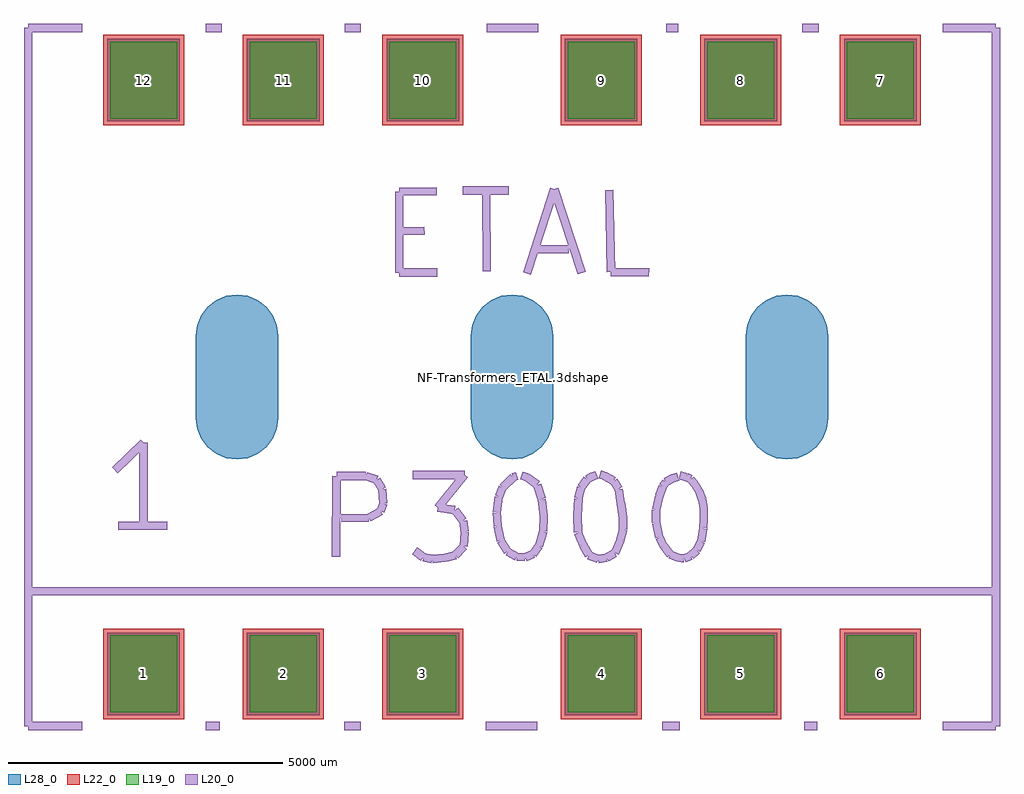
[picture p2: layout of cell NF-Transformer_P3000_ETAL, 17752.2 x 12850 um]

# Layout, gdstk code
import gdstk
lib = gdstk.Library(unit=1e-6, precision=1e-09)
def R(c, l, rs):  # rectangles x0, y0, x1, y1
    for r in rs: c.add(gdstk.rectangle(r[:2], r[2:], *l))
def A(c, l, x, y, w, h, nx, ny, dx, dy):  # array of equal rectangles
    R(c, l, [(x+i*dx, y+j*dy, x+i*dx+w, y+j*dy+h) for i in range(nx) for j in range(ny)])
def P(c, l, *ps):  # polygons
    for p in ps: c.add(gdstk.Polygon(p, *l))
L19_0 = (19, 0)
L20_0 = (20, 0)
L22_0 = (22, 0)
L28_0 = (28, 0)

nf_transformer_p3000_eta = lib.new_cell('NF-Transformer_P3000_ETAL')
A(nf_transformer_p3000_eta, L19_0, -7310.92, -6100.61, 1220.8, 1401.14, 3, 2, 2540, 10800.08)
A(nf_transformer_p3000_eta, L19_0, 1010.12, -6100.61, 1220.8, 1401.14, 3, 2, 2540, 10800.08)
A(nf_transformer_p3000_eta, L22_0, -7435.92, -6225.61, 1470.8, 1651.14, 3, 2, 2540, 10800.08)
A(nf_transformer_p3000_eta, L22_0, 885.12, -6225.61, 1470.8, 1651.14, 3, 2, 2540, 10800.08)
A(nf_transformer_p3000_eta, L28_0, -7360.92, -6150.61, 1320.8, 1501.14, 3, 2, 2540, 10800.08)
A(nf_transformer_p3000_eta, L28_0, 960.12, -6150.61, 1320.8, 1501.14, 3, 2, 2540, 10800.08)
P(nf_transformer_p3000_eta, L28_0, [(5001.26,-1499.87),(5195.522,-1474.295),(5376.545,-1399.313),(5531.993,-1280.033),(5651.273,-1124.585),(5726.255,-943.562),(5751.83,-749.3),(5751.83,749.3),(5726.255,943.562),(5651.273,1124.585),(5531.993,1280.033),(5376.545,1399.313),(5195.522,1474.295),(5001.26,1499.87),(4806.998,1474.295),(4625.975,1399.313),(4470.527,1280.033),(4351.247,1124.585),(4276.265,943.562),(4250.69,749.3),(4250.69,-749.3),(4276.265,-943.562),(4351.247,-1124.585),(4470.527,-1280.033),(4625.975,-1399.313),(4806.998,-1474.295)],
  [(-5001.26,-1499.87),(-4806.998,-1474.295),(-4625.975,-1399.313),(-4470.527,-1280.033),(-4351.247,-1124.585),(-4276.265,-943.562),(-4250.69,-749.3),(-4250.69,749.3),(-4276.265,943.562),(-4351.247,1124.585),(-4470.527,1280.033),(-4625.975,1399.313),(-4806.998,1474.295),(-5001.26,1499.87),(-5195.522,1474.295),(-5376.545,1399.313),(-5531.993,1280.033),(-5651.273,1124.585),(-5726.255,943.562),(-5751.83,749.3),(-5751.83,-749.3),(-5726.255,-943.562),(-5651.273,-1124.585),(-5531.993,-1280.033),(-5376.545,-1399.313),(-5195.522,-1474.295)],
  [(0,-1499.87),(194.262,-1474.295),(375.285,-1399.313),(530.733,-1280.033),(650.013,-1124.585),(724.995,-943.562),(750.57,-749.3),(750.57,749.3),(724.995,943.562),(650.013,1124.585),(530.733,1280.033),(375.285,1399.313),(194.262,1474.295),(0,1499.87),(-194.262,1474.295),(-375.285,1399.313),(-530.733,1280.033),(-650.013,1124.585),(-724.995,943.562),(-750.57,749.3),(-750.57,-749.3),(-724.995,-943.562),(-650.013,-1124.585),(-530.733,-1280.033),(-375.285,-1399.313),(-194.262,-1474.295)])
nf_transformer_p3000_eta.add(gdstk.FlexPath([(8801.1,6350),(8801.1,-6350)], 149.998, ends="flush", simple_path=True, layer=20, datatype=0))  # L20_0
nf_transformer_p3000_eta.add(gdstk.FlexPath([(8801.1,-6350),(7830.82,-6350)], 149.998, ends="flush", simple_path=True, layer=20, datatype=0))  # L20_0
nf_transformer_p3000_eta.add(gdstk.FlexPath([(8801.1,6350),(7830.82,6350)], 149.998, ends="flush", simple_path=True, layer=20, datatype=0))  # L20_0
nf_transformer_p3000_eta.add(gdstk.FlexPath([(5549.9,-6350),(5311.14,-6350)], 149.998, ends="flush", simple_path=True, layer=20, datatype=0))  # L20_0
nf_transformer_p3000_eta.add(gdstk.FlexPath([(3050.54,-6350),(2730.5,-6350)], 149.998, ends="flush", simple_path=True, layer=20, datatype=0))  # L20_0
nf_transformer_p3000_eta.add(gdstk.FlexPath([(459.74,-6350),(-480.06,-6350)], 149.998, ends="flush", simple_path=True, layer=20, datatype=0))  # L20_0
nf_transformer_p3000_eta.add(gdstk.FlexPath([(-2750.82,-6350),(-3050.54,-6350)], 149.998, ends="flush", simple_path=True, layer=20, datatype=0))  # L20_0
nf_transformer_p3000_eta.add(gdstk.FlexPath([(-5311.14,-6350),(-5570.22,-6350)], 149.998, ends="flush", simple_path=True, layer=20, datatype=0))  # L20_0
nf_transformer_p3000_eta.add(gdstk.FlexPath([(-7820.66,-6350),(-8801.1,-6350)], 149.998, ends="flush", simple_path=True, layer=20, datatype=0))  # L20_0
nf_transformer_p3000_eta.add(gdstk.FlexPath([(-8801.1,-6350),(-8801.1,6350)], 149.998, ends="flush", simple_path=True, layer=20, datatype=0))  # L20_0
nf_transformer_p3000_eta.add(gdstk.FlexPath([(-8801.1,6350),(-7820.66,6350)], 149.998, ends="flush", simple_path=True, layer=20, datatype=0))  # L20_0
nf_transformer_p3000_eta.add(gdstk.FlexPath([(-5570.22,6350),(-5280.66,6350)], 149.998, ends="flush", simple_path=True, layer=20, datatype=0))  # L20_0
nf_transformer_p3000_eta.add(gdstk.FlexPath([(-3040.38,6350),(-2750.82,6350)], 149.998, ends="flush", simple_path=True, layer=20, datatype=0))  # L20_0
nf_transformer_p3000_eta.add(gdstk.FlexPath([(-459.74,6350),(480.06,6350)], 149.998, ends="flush", simple_path=True, layer=20, datatype=0))  # L20_0
nf_transformer_p3000_eta.add(gdstk.FlexPath([(2809.24,6350),(3020.06,6350)], 149.998, ends="flush", simple_path=True, layer=20, datatype=0))  # L20_0
nf_transformer_p3000_eta.add(gdstk.FlexPath([(5280.66,6350),(5580.38,6350)], 149.998, ends="flush", simple_path=True, layer=20, datatype=0))  # L20_0
nf_transformer_p3000_eta.add(gdstk.FlexPath([(8801.1,-3898.9),(-8801.1,-3898.9)], 149.998, ends="flush", simple_path=True, layer=20, datatype=0))  # L20_0
nf_transformer_p3000_eta.add(gdstk.FlexPath([(-2049.78,1899.92),(-1358.9,1899.92)], 149.998, ends="flush", simple_path=True, layer=20, datatype=0))  # L20_0
nf_transformer_p3000_eta.add(gdstk.FlexPath([(-2049.78,3370.58),(-2049.78,1899.92)], 149.998, ends="flush", simple_path=True, layer=20, datatype=0))  # L20_0
nf_transformer_p3000_eta.add(gdstk.FlexPath([(-1369.06,3380.74),(-2049.78,3370.58)], 149.998, ends="flush", simple_path=True, layer=20, datatype=0))  # L20_0
nf_transformer_p3000_eta.add(gdstk.FlexPath([(-2049.78,2651.76),(-1590.04,2661.92)], 149.998, ends="flush", simple_path=True, layer=20, datatype=0))  # L20_0
nf_transformer_p3000_eta.add(gdstk.FlexPath([(-899.16,3390.9),(-58.42,3390.9)], 149.998, ends="flush", simple_path=True, layer=20, datatype=0))  # L20_0
nf_transformer_p3000_eta.add(gdstk.FlexPath([(-469.9,3380.74),(-459.74,1920.24)], 149.998, ends="flush", simple_path=True, layer=20, datatype=0))  # L20_0
nf_transformer_p3000_eta.add(gdstk.FlexPath([(769.62,3421.38),(1270,1889.76)], 149.998, ends="flush", simple_path=True, layer=20, datatype=0))  # L20_0
nf_transformer_p3000_eta.add(gdstk.FlexPath([(271.78,1882.14),(769.62,3421.38)], 149.998, ends="flush", simple_path=True, layer=20, datatype=0))  # L20_0
nf_transformer_p3000_eta.add(gdstk.FlexPath([(441.96,2321.56),(1031.24,2321.56)], 149.998, ends="flush", simple_path=True, layer=20, datatype=0))  # L20_0
nf_transformer_p3000_eta.add(gdstk.FlexPath([(1800.86,1910.08),(2491.74,1899.92)], 149.998, ends="flush", simple_path=True, layer=20, datatype=0))  # L20_0
nf_transformer_p3000_eta.add(gdstk.FlexPath([(1770.38,3401.06),(1800.86,1910.08)], 149.998, ends="flush", simple_path=True, layer=20, datatype=0))  # L20_0
nf_transformer_p3000_eta.add(gdstk.FlexPath([(-2608.58,-2560.32),(-3108.96,-2570.48)], 149.998, ends="flush", simple_path=True, layer=20, datatype=0))  # L20_0
nf_transformer_p3000_eta.add(gdstk.FlexPath([(-2390.14,-2440.94),(-2608.58,-2560.32)], 149.998, ends="flush", simple_path=True, layer=20, datatype=0))  # L20_0
nf_transformer_p3000_eta.add(gdstk.FlexPath([(-2339.34,-2301.24),(-2390.14,-2440.94)], 149.998, ends="flush", simple_path=True, layer=20, datatype=0))  # L20_0
nf_transformer_p3000_eta.add(gdstk.FlexPath([(-2359.66,-2039.62),(-2339.34,-2301.24)], 149.998, ends="flush", simple_path=True, layer=20, datatype=0))  # L20_0
nf_transformer_p3000_eta.add(gdstk.FlexPath([(-2458.72,-1869.44),(-2359.66,-2039.62)], 149.998, ends="flush", simple_path=True, layer=20, datatype=0))  # L20_0
nf_transformer_p3000_eta.add(gdstk.FlexPath([(-2659.38,-1800.86),(-2458.72,-1869.44)], 149.998, ends="flush", simple_path=True, layer=20, datatype=0))  # L20_0
nf_transformer_p3000_eta.add(gdstk.FlexPath([(-3190.24,-1800.86),(-2659.38,-1800.86)], 149.998, ends="flush", simple_path=True, layer=20, datatype=0))  # L20_0
nf_transformer_p3000_eta.add(gdstk.FlexPath([(-3200.4,-3268.98),(-3190.24,-1800.86)], 149.998, ends="flush", simple_path=True, layer=20, datatype=0))  # L20_0
nf_transformer_p3000_eta.add(gdstk.FlexPath([(-1610.36,-3279.14),(-1770.38,-3159.76)], 149.998, ends="flush", simple_path=True, layer=20, datatype=0))  # L20_0
nf_transformer_p3000_eta.add(gdstk.FlexPath([(-1450.34,-3309.62),(-1610.36,-3279.14)], 149.998, ends="flush", simple_path=True, layer=20, datatype=0))  # L20_0
nf_transformer_p3000_eta.add(gdstk.FlexPath([(-1209.04,-3289.3),(-1450.34,-3309.62)], 149.998, ends="flush", simple_path=True, layer=20, datatype=0))  # L20_0
nf_transformer_p3000_eta.add(gdstk.FlexPath([(-1028.7,-3241.04),(-1209.04,-3289.3)], 149.998, ends="flush", simple_path=True, layer=20, datatype=0))  # L20_0
nf_transformer_p3000_eta.add(gdstk.FlexPath([(-878.84,-3081.02),(-1028.7,-3241.04)], 149.998, ends="flush", simple_path=True, layer=20, datatype=0))  # L20_0
nf_transformer_p3000_eta.add(gdstk.FlexPath([(-861.06,-2819.4),(-878.84,-3081.02)], 149.998, ends="flush", simple_path=True, layer=20, datatype=0))  # L20_0
nf_transformer_p3000_eta.add(gdstk.FlexPath([(-889,-2611.12),(-861.06,-2819.4)], 149.998, ends="flush", simple_path=True, layer=20, datatype=0))  # L20_0
nf_transformer_p3000_eta.add(gdstk.FlexPath([(-1038.86,-2420.62),(-889,-2611.12)], 149.998, ends="flush", simple_path=True, layer=20, datatype=0))  # L20_0
nf_transformer_p3000_eta.add(gdstk.FlexPath([(-1348.74,-2379.98),(-1038.86,-2420.62)], 149.998, ends="flush", simple_path=True, layer=20, datatype=0))  # L20_0
nf_transformer_p3000_eta.add(gdstk.FlexPath([(-861.06,-1780.54),(-1348.74,-2379.98)], 149.998, ends="flush", simple_path=True, layer=20, datatype=0))  # L20_0
nf_transformer_p3000_eta.add(gdstk.FlexPath([(-1800.86,-1780.54),(-861.06,-1780.54)], 149.998, ends="flush", simple_path=True, layer=20, datatype=0))  # L20_0
nf_transformer_p3000_eta.add(gdstk.FlexPath([(20.32,-1821.18),(88.9,-1800.86)], 149.998, ends="flush", simple_path=True, layer=20, datatype=0))  # L20_0
nf_transformer_p3000_eta.add(gdstk.FlexPath([(-170.18,-2009.14),(20.32,-1821.18)], 149.998, ends="flush", simple_path=True, layer=20, datatype=0))  # L20_0
nf_transformer_p3000_eta.add(gdstk.FlexPath([(-238.76,-2179.32),(-170.18,-2009.14)], 149.998, ends="flush", simple_path=True, layer=20, datatype=0))  # L20_0
nf_transformer_p3000_eta.add(gdstk.FlexPath([(-279.4,-2461.26),(-238.76,-2179.32)], 149.998, ends="flush", simple_path=True, layer=20, datatype=0))  # L20_0
nf_transformer_p3000_eta.add(gdstk.FlexPath([(-259.08,-2720.34),(-279.4,-2461.26)], 149.998, ends="flush", simple_path=True, layer=20, datatype=0))  # L20_0
nf_transformer_p3000_eta.add(gdstk.FlexPath([(-200.66,-2979.42),(-259.08,-2720.34)], 149.998, ends="flush", simple_path=True, layer=20, datatype=0))  # L20_0
nf_transformer_p3000_eta.add(gdstk.FlexPath([(-78.74,-3180.08),(-200.66,-2979.42)], 149.998, ends="flush", simple_path=True, layer=20, datatype=0))  # L20_0
nf_transformer_p3000_eta.add(gdstk.FlexPath([(88.9,-3268.98),(-78.74,-3180.08)], 149.998, ends="flush", simple_path=True, layer=20, datatype=0))  # L20_0
nf_transformer_p3000_eta.add(gdstk.FlexPath([(241.3,-3279.14),(88.9,-3268.98)], 149.998, ends="flush", simple_path=True, layer=20, datatype=0))  # L20_0
nf_transformer_p3000_eta.add(gdstk.FlexPath([(381,-3220.72),(241.3,-3279.14)], 149.998, ends="flush", simple_path=True, layer=20, datatype=0))  # L20_0
nf_transformer_p3000_eta.add(gdstk.FlexPath([(490.22,-3070.86),(381,-3220.72)], 149.998, ends="flush", simple_path=True, layer=20, datatype=0))  # L20_0
nf_transformer_p3000_eta.add(gdstk.FlexPath([(568.96,-2809.24),(490.22,-3070.86)], 149.998, ends="flush", simple_path=True, layer=20, datatype=0))  # L20_0
nf_transformer_p3000_eta.add(gdstk.FlexPath([(579.12,-2529.84),(568.96,-2809.24)], 149.998, ends="flush", simple_path=True, layer=20, datatype=0))  # L20_0
nf_transformer_p3000_eta.add(gdstk.FlexPath([(541.02,-2219.96),(579.12,-2529.84)], 149.998, ends="flush", simple_path=True, layer=20, datatype=0))  # L20_0
nf_transformer_p3000_eta.add(gdstk.FlexPath([(459.74,-1960.88),(541.02,-2219.96)], 149.998, ends="flush", simple_path=True, layer=20, datatype=0))  # L20_0
nf_transformer_p3000_eta.add(gdstk.FlexPath([(269.24,-1821.18),(459.74,-1960.88)], 149.998, ends="flush", simple_path=True, layer=20, datatype=0))  # L20_0
nf_transformer_p3000_eta.add(gdstk.FlexPath([(170.18,-1790.7),(269.24,-1821.18)], 149.998, ends="flush", simple_path=True, layer=20, datatype=0))  # L20_0
nf_transformer_p3000_eta.add(gdstk.FlexPath([(1460.5,-1811.02),(1539.24,-1780.54)], 149.998, ends="flush", simple_path=True, layer=20, datatype=0))  # L20_0
nf_transformer_p3000_eta.add(gdstk.FlexPath([(1369.06,-1859.28),(1460.5,-1811.02)], 149.998, ends="flush", simple_path=True, layer=20, datatype=0))  # L20_0
nf_transformer_p3000_eta.add(gdstk.FlexPath([(1259.84,-2009.14),(1369.06,-1859.28)], 149.998, ends="flush", simple_path=True, layer=20, datatype=0))  # L20_0
nf_transformer_p3000_eta.add(gdstk.FlexPath([(1209.04,-2209.8),(1259.84,-2009.14)], 149.998, ends="flush", simple_path=True, layer=20, datatype=0))  # L20_0
nf_transformer_p3000_eta.add(gdstk.FlexPath([(1191.26,-2519.68),(1209.04,-2209.8)], 149.998, ends="flush", simple_path=True, layer=20, datatype=0))  # L20_0
nf_transformer_p3000_eta.add(gdstk.FlexPath([(1201.42,-2829.56),(1191.26,-2519.68)], 149.998, ends="flush", simple_path=True, layer=20, datatype=0))  # L20_0
nf_transformer_p3000_eta.add(gdstk.FlexPath([(1290.32,-3050.54),(1201.42,-2829.56)], 149.998, ends="flush", simple_path=True, layer=20, datatype=0))  # L20_0
nf_transformer_p3000_eta.add(gdstk.FlexPath([(1399.54,-3241.04),(1290.32,-3050.54)], 149.998, ends="flush", simple_path=True, layer=20, datatype=0))  # L20_0
nf_transformer_p3000_eta.add(gdstk.FlexPath([(1569.72,-3309.62),(1399.54,-3241.04)], 149.998, ends="flush", simple_path=True, layer=20, datatype=0))  # L20_0
nf_transformer_p3000_eta.add(gdstk.FlexPath([(1719.58,-3289.3),(1569.72,-3309.62)], 149.998, ends="flush", simple_path=True, layer=20, datatype=0))  # L20_0
nf_transformer_p3000_eta.add(gdstk.FlexPath([(1869.44,-3200.4),(1719.58,-3289.3)], 149.998, ends="flush", simple_path=True, layer=20, datatype=0))  # L20_0
nf_transformer_p3000_eta.add(gdstk.FlexPath([(1971.04,-2969.26),(1869.44,-3200.4)], 149.998, ends="flush", simple_path=True, layer=20, datatype=0))  # L20_0
nf_transformer_p3000_eta.add(gdstk.FlexPath([(2019.3,-2771.14),(1971.04,-2969.26)], 149.998, ends="flush", simple_path=True, layer=20, datatype=0))  # L20_0
nf_transformer_p3000_eta.add(gdstk.FlexPath([(2019.3,-2560.32),(2019.3,-2771.14)], 149.998, ends="flush", simple_path=True, layer=20, datatype=0))  # L20_0
nf_transformer_p3000_eta.add(gdstk.FlexPath([(1981.2,-2301.24),(2019.3,-2560.32)], 149.998, ends="flush", simple_path=True, layer=20, datatype=0))  # L20_0
nf_transformer_p3000_eta.add(gdstk.FlexPath([(1940.56,-2039.62),(1981.2,-2301.24)], 149.998, ends="flush", simple_path=True, layer=20, datatype=0))  # L20_0
nf_transformer_p3000_eta.add(gdstk.FlexPath([(1849.12,-1889.76),(1940.56,-2039.62)], 149.998, ends="flush", simple_path=True, layer=20, datatype=0))  # L20_0
nf_transformer_p3000_eta.add(gdstk.FlexPath([(1689.1,-1800.86),(1849.12,-1889.76)], 149.998, ends="flush", simple_path=True, layer=20, datatype=0))  # L20_0
nf_transformer_p3000_eta.add(gdstk.FlexPath([(1600.2,-1770.38),(1689.1,-1800.86)], 149.998, ends="flush", simple_path=True, layer=20, datatype=0))  # L20_0
nf_transformer_p3000_eta.add(gdstk.FlexPath([(2931.16,-1838.96),(3020.06,-1811.02)], 149.998, ends="flush", simple_path=True, layer=20, datatype=0))  # L20_0
nf_transformer_p3000_eta.add(gdstk.FlexPath([(2799.08,-1910.08),(2931.16,-1838.96)], 149.998, ends="flush", simple_path=True, layer=20, datatype=0))  # L20_0
nf_transformer_p3000_eta.add(gdstk.FlexPath([(2740.66,-1991.36),(2799.08,-1910.08)], 149.998, ends="flush", simple_path=True, layer=20, datatype=0))  # L20_0
nf_transformer_p3000_eta.add(gdstk.FlexPath([(2679.7,-2169.16),(2740.66,-1991.36)], 149.998, ends="flush", simple_path=True, layer=20, datatype=0))  # L20_0
nf_transformer_p3000_eta.add(gdstk.FlexPath([(2621.28,-2410.46),(2679.7,-2169.16)], 149.998, ends="flush", simple_path=True, layer=20, datatype=0))  # L20_0
nf_transformer_p3000_eta.add(gdstk.FlexPath([(2621.28,-2649.22),(2621.28,-2410.46)], 149.998, ends="flush", simple_path=True, layer=20, datatype=0))  # L20_0
nf_transformer_p3000_eta.add(gdstk.FlexPath([(2679.7,-2921),(2621.28,-2649.22)], 149.998, ends="flush", simple_path=True, layer=20, datatype=0))  # L20_0
nf_transformer_p3000_eta.add(gdstk.FlexPath([(2760.98,-3081.02),(2679.7,-2921)], 149.998, ends="flush", simple_path=True, layer=20, datatype=0))  # L20_0
nf_transformer_p3000_eta.add(gdstk.FlexPath([(2880.36,-3230.88),(2760.98,-3081.02)], 149.998, ends="flush", simple_path=True, layer=20, datatype=0))  # L20_0
nf_transformer_p3000_eta.add(gdstk.FlexPath([(3030.22,-3289.3),(2880.36,-3230.88)], 149.998, ends="flush", simple_path=True, layer=20, datatype=0))  # L20_0
nf_transformer_p3000_eta.add(gdstk.FlexPath([(3129.28,-3299.46),(3030.22,-3289.3)], 149.998, ends="flush", simple_path=True, layer=20, datatype=0))  # L20_0
nf_transformer_p3000_eta.add(gdstk.FlexPath([(3251.2,-3251.2),(3129.28,-3299.46)], 149.998, ends="flush", simple_path=True, layer=20, datatype=0))  # L20_0
nf_transformer_p3000_eta.add(gdstk.FlexPath([(3360.42,-3149.6),(3251.2,-3251.2)], 149.998, ends="flush", simple_path=True, layer=20, datatype=0))  # L20_0
nf_transformer_p3000_eta.add(gdstk.FlexPath([(3439.16,-2989.58),(3360.42,-3149.6)], 149.998, ends="flush", simple_path=True, layer=20, datatype=0))  # L20_0
nf_transformer_p3000_eta.add(gdstk.FlexPath([(3479.8,-2750.82),(3439.16,-2989.58)], 149.998, ends="flush", simple_path=True, layer=20, datatype=0))  # L20_0
nf_transformer_p3000_eta.add(gdstk.FlexPath([(3489.96,-2580.64),(3479.8,-2750.82)], 149.998, ends="flush", simple_path=True, layer=20, datatype=0))  # L20_0
nf_transformer_p3000_eta.add(gdstk.FlexPath([(3489.96,-2390.14),(3489.96,-2580.64)], 149.998, ends="flush", simple_path=True, layer=20, datatype=0))  # L20_0
nf_transformer_p3000_eta.add(gdstk.FlexPath([(3459.48,-2230.12),(3489.96,-2390.14)], 149.998, ends="flush", simple_path=True, layer=20, datatype=0))  # L20_0
nf_transformer_p3000_eta.add(gdstk.FlexPath([(3401.06,-2070.1),(3459.48,-2230.12)], 149.998, ends="flush", simple_path=True, layer=20, datatype=0))  # L20_0
nf_transformer_p3000_eta.add(gdstk.FlexPath([(3309.62,-1930.4),(3401.06,-2070.1)], 149.998, ends="flush", simple_path=True, layer=20, datatype=0))  # L20_0
nf_transformer_p3000_eta.add(gdstk.FlexPath([(3251.2,-1859.28),(3309.62,-1930.4)], 149.998, ends="flush", simple_path=True, layer=20, datatype=0))  # L20_0
nf_transformer_p3000_eta.add(gdstk.FlexPath([(3169.92,-1821.18),(3251.2,-1859.28)], 149.998, ends="flush", simple_path=True, layer=20, datatype=0))  # L20_0
nf_transformer_p3000_eta.add(gdstk.FlexPath([(3050.54,-1790.7),(3169.92,-1821.18)], 149.998, ends="flush", simple_path=True, layer=20, datatype=0))  # L20_0
nf_transformer_p3000_eta.add(gdstk.FlexPath([(-6700.52,-1198.88),(-6700.52,-2720.34)], 149.998, ends="flush", simple_path=True, layer=20, datatype=0))  # L20_0
nf_transformer_p3000_eta.add(gdstk.FlexPath([(-7221.22,-1699.26),(-6700.52,-1198.88)], 149.998, ends="flush", simple_path=True, layer=20, datatype=0))  # L20_0
nf_transformer_p3000_eta.add(gdstk.FlexPath([(-7160.26,-2710.18),(-6271.26,-2700.02)], 149.998, ends="flush", simple_path=True, layer=20, datatype=0))  # L20_0
nf_transformer_p3000_eta.add(gdstk.Label('NF-Transformers_ETAL.3dshapes/NF-Transformer_P3000_ETAL.wrl', (0,0), layer=12, texttype=0))
nf_transformer_p3000_eta.add(gdstk.Label('12', (-6700.52,5400.04), layer=28, texttype=0))
nf_transformer_p3000_eta.add(gdstk.Label('11', (-4160.52,5400.04), layer=28, texttype=0))
nf_transformer_p3000_eta.add(gdstk.Label('10', (-1620.52,5400.04), layer=28, texttype=0))
nf_transformer_p3000_eta.add(gdstk.Label('9', (1620.52,5400.04), layer=28, texttype=0))
nf_transformer_p3000_eta.add(gdstk.Label('8', (4160.52,5400.04), layer=28, texttype=0))
nf_transformer_p3000_eta.add(gdstk.Label('7', (6700.52,5400.04), layer=28, texttype=0))
nf_transformer_p3000_eta.add(gdstk.Label('6', (6700.52,-5400.04), layer=28, texttype=0))
nf_transformer_p3000_eta.add(gdstk.Label('5', (4160.52,-5400.04), layer=28, texttype=0))
nf_transformer_p3000_eta.add(gdstk.Label('4', (1620.52,-5400.04), layer=28, texttype=0))
nf_transformer_p3000_eta.add(gdstk.Label('1', (-6700.52,-5400.04), layer=28, texttype=0))
nf_transformer_p3000_eta.add(gdstk.Label('2', (-4160.52,-5400.04), layer=28, texttype=0))
nf_transformer_p3000_eta.add(gdstk.Label('3', (-1620.52,-5400.04), layer=28, texttype=0))
nf_transformer_p3000_eta.add(gdstk.Label('13', (0,0), layer=28, texttype=0))
nf_transformer_p3000_eta.add(gdstk.Label('type', (0,-9999.98), layer=9, texttype=0))
nf_transformer_p3000_eta.add(gdstk.Label('devicename', (0,9999.98), layer=9, texttype=0))

lib.write_gds('NF-Transformer_P3000_ETAL.gds')
